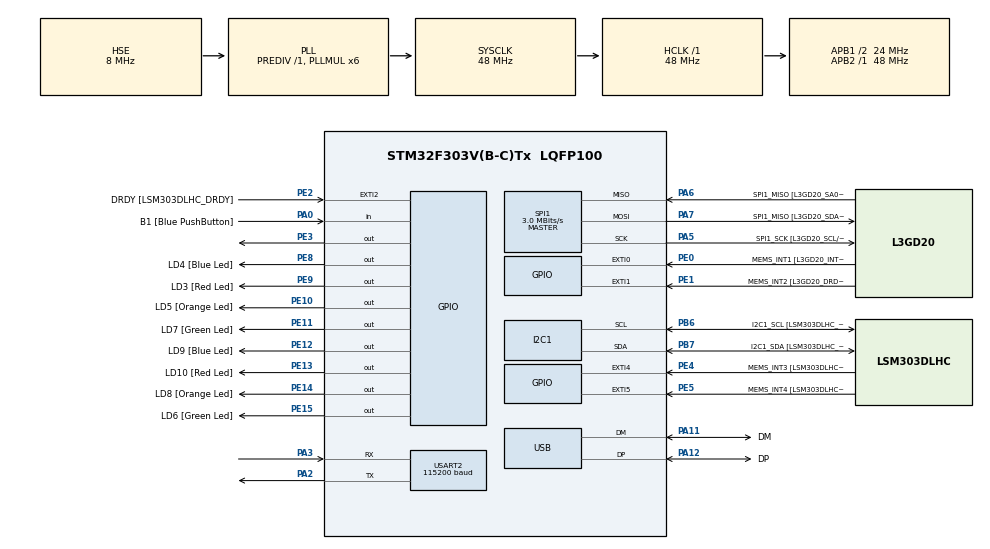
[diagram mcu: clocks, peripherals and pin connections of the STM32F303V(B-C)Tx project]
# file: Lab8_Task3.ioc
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I2C1.Timing=0x00201D2B
I2C1.Timing-I2C=0x2000090E
Mcu.Family=STM32F3
Mcu.Name=STM32F303V(B-C)Tx
Mcu.Package=LQFP100
NVIC.PriorityGroup=NVIC_PRIORITYGROUP_0
NVIC.SPI1_IRQn=true\:0\:0\:false\:false\:true\:true\:true\:true
PA0.GPIO_Label=B1 [Blue PushButton]
PA0.Signal=GPIO_Input
PA11.GPIO_Label=DM
PA11.Mode=Device
PA11.Signal=USB_DM
PA12.GPIO_Label=DP
PA12.Mode=Device
PA12.Signal=USB_DP
PA13.GPIO_Label=SWDIO
PA13.Mode=Serial_Wire
PA13.Signal=SYS_JTMS-SWDIO
PA14.GPIO_Label=SWCLK
PA14.Mode=Serial_Wire
PA14.Signal=SYS_JTCK-SWCLK
PA2.Mode=Asynchronous
PA2.Signal=USART2_TX
PA3.Mode=Asynchronous
PA3.Signal=USART2_RX
PA5.GPIO_Label=SPI1_SCK [L3GD20_SCL/SPC]
PA5.Mode=Full_Duplex_Master
PA5.Signal=SPI1_SCK
PA6.GPIO_Label=SPI1_MISO [L3GD20_SA0/SDO]
PA6.Mode=Full_Duplex_Master
PA6.Signal=SPI1_MISO
PA7.GPIO_Label=SPI1_MISO [L3GD20_SDA/SDI/SDO]
PA7.Mode=Full_Duplex_Master
PA7.Signal=SPI1_MOSI
PB3.GPIO_Label=SWO
PB3.Signal=SYS_JTDO-TRACESWO
PB6.GPIO_Label=I2C1_SCL [LSM303DLHC_SCL]
PB6.GPIO_Pu=GPIO_PULLUP
PB6.Mode=I2C
PB6.Signal=I2C1_SCL
PB7.GPIO_Label=I2C1_SDA [LSM303DLHC_SDA]
PB7.GPIO_Pu=GPIO_PULLUP
PB7.Mode=I2C
PB7.Signal=I2C1_SDA
PC14-OSC32_IN.GPIO_Label=OSC32_IN
PC14-OSC32_IN.Signal=RCC_OSC32_IN
PC15-OSC32_OUT.GPIO_Label=OSC32_OUT
PC15-OSC32_OUT.Signal=RCC_OSC32_OUT
PE0.GPIO_Label=MEMS_INT1 [L3GD20_INT1]
PE0.GPIO_ModeDefaultEXTI=GPIO_MODE_EVT_RISING
PE0.Signal=GPXTI0
PE1.GPIO_Label=MEMS_INT2 [L3GD20_DRDY/INT2]
PE1.GPIO_ModeDefaultEXTI=GPIO_MODE_EVT_RISING
PE1.Signal=GPXTI1
PE10.GPIO_Label=LD5 [Orange Led]
PE10.Signal=GPIO_Output
PE11.GPIO_Label=LD7 [Green Led]
PE11.Signal=GPIO_Output
PE12.GPIO_Label=LD9 [Blue Led]
PE12.Signal=GPIO_Output
PE13.GPIO_Label=LD10 [Red Led]
PE13.Signal=GPIO_Output
PE14.GPIO_Label=LD8 [Orange Led]
PE14.Signal=GPIO_Output
PE15.GPIO_Label=LD6 [Green Led]
PE15.Signal=GPIO_Output
PE2.GPIO_Label=DRDY [LSM303DLHC_DRDY]
PE2.GPIO_ModeDefaultEXTI=GPIO_MODE_EVT_RISING
PE2.Signal=GPXTI2
PE3.Signal=GPIO_Output
PE4.GPIO_Label=MEMS_INT3 [LSM303DLHC_INT1]
PE4.GPIO_ModeDefaultEXTI=GPIO_MODE_EVT_RISING
PE4.Signal=GPXTI4
PE5.GPIO_Label=MEMS_INT4 [LSM303DLHC_INT2]
PE5.GPIO_ModeDefaultEXTI=GPIO_MODE_EVT_RISING
PE5.Signal=GPXTI5
PE8.GPIO_Label=LD4 [Blue Led]
PE8.Signal=GPIO_Output
PE9.GPIO_Label=LD3 [Red Led]
PE9.Signal=GPIO_Output
PF0-OSC_IN.GPIO_Label=OSC_IN
PF0-OSC_IN.Mode=HSE-External-Clock-Source
PF0-OSC_IN.Signal=RCC_OSC_IN
PF1-OSC_OUT.GPIO_Label=OSC_OUT
PF1-OSC_OUT.Signal=RCC_OSC_OUT
ProjectManager.HeapSize=0x200
ProjectManager.StackSize=0x400
ProjectManager.TargetToolchain=CMake
RCC.AHBFreq_Value=48000000
RCC.APB1CLKDivider=RCC_HCLK_DIV2
RCC.APB1Freq_Value=24000000
RCC.APB1TimFreq_Value=48000000
RCC.APB2Freq_Value=48000000
RCC.APB2TimFreq_Value=48000000
RCC.CortexFreq_Value=48000000
RCC.HCLKFreq_Value=48000000
RCC.HSE_VALUE=8000000
RCC.HSI_VALUE=8000000
RCC.LSE_VALUE=32768
RCC.PLLMUL=RCC_PLL_MUL6
RCC.SYSCLKFreq_VALUE=48000000
RCC.SYSCLKSourceVirtual=RCC_SYSCLKSOURCE_PLLCLK
RCC.USBFreq_Value=48000000
SPI1.BaudRatePrescaler=SPI_BAUDRATEPRESCALER_16
SPI1.BaudRatePrescaler-Full_Duplex_Master=SPI_BAUDRATEPRESCALER_2
SPI1.CLKPhase=SPI_PHASE_2EDGE
SPI1.CLKPolarity=SPI_POLARITY_HIGH
SPI1.CalculateBaudRate=3.0 MBits/s
SPI1.CalculateBaudRate-Full_Duplex_Master=24.0 MBits/s
SPI1.DataSize=SPI_DATASIZE_8BIT
SPI1.Direction=SPI_DIRECTION_2LINES
SPI1.Mode=SPI_MODE_MASTER
SPI1.Mode-Full_Duplex_Master=SPI_MODE_MASTER
SPI1.VirtualType=VM_MASTER
USART2.BaudRate=115200
USART2.VirtualMode-Asynchronous=VM_ASYNC
board=STM32F3DISCOVERY

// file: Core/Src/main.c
/* USER CODE BEGIN Header */
/**
  ******************************************************************************
  * @file           : main.c
  * @brief          : Main program body
  ******************************************************************************
  * @attention
  *
  * Copyright (c) 2025 STMicroelectronics.
  * All rights reserved.
  *
  * This software is licensed under terms that can be found in the LICENSE file
  * in the root directory of this software component.
  * If no LICENSE file comes with this software, it is provided AS-IS.
  *
  ******************************************************************************
  */
/* USER CODE END Header */
#include "main.h"
#include <stdio.h>
#include <string.h>
#include <stdarg.h>

I2C_HandleTypeDef hi2c1;

SPI_HandleTypeDef hspi1;

UART_HandleTypeDef huart2;

PCD_HandleTypeDef hpcd_USB_FS;

void SystemClock_Config(void);
static void MX_GPIO_Init(void);
static void MX_I2C1_Init(void);
static void MX_SPI1_Init(void);
static void MX_USART2_UART_Init(void);
static void MX_USB_PCD_Init(void);

#define WHO_AM_I_REG       0x0F
#define CTRL_REG1          0x20
#define OUT_TEMP           0x26
#define OUT_X_L            0x28
#define OUT_X_H            0x29
#define OUT_Y_L            0x2A
#define OUT_Y_H            0x2B
#define OUT_Z_L            0x2C
#define OUT_Z_H            0x2D
#define WHO_AM_I_EXPECTED  0xD3

#define CS_LOW()  HAL_GPIO_WritePin(GPIOE, GPIO_PIN_3, GPIO_PIN_RESET)
#define CS_HIGH() HAL_GPIO_WritePin(GPIOE, GPIO_PIN_3, GPIO_PIN_SET)
/* USER CODE END PV */

/* USER CODE BEGIN 0 */
uint8_t spi_read(uint8_t reg)
{
    uint8_t tx[2];
    uint8_t rx[2];
    tx[0] = reg | 0x80;  // Read command (MSB = 1)

    tx[1] = 0x00;

    CS_LOW();
    HAL_SPI_TransmitReceive(&hspi1, tx, rx, 2, HAL_MAX_DELAY);
    CS_HIGH();

    return rx[1];
}

void spi_write(uint8_t reg, uint8_t value)
{
    uint8_t data[2] = {reg & 0x7F, value};  // Write command (MSB = 0)
    CS_LOW();
    HAL_SPI_Transmit(&hspi1, data, 2, HAL_MAX_DELAY);
    CS_HIGH();
}

void gyro_init(void)
{
    uint8_t whoami = spi_read(WHO_AM_I_REG);
    if (whoami != WHO_AM_I_EXPECTED)
    {
        char msg[50];
        sprintf(msg, "WHO_AM_I error: 0x%02X\r\n", whoami);
        HAL_UART_Transmit(&huart2, (uint8_t*)msg, strlen(msg), HAL_MAX_DELAY);
    }

    spi_write(CTRL_REG1, 0b00001111); // Power on, X/Y/Z enable, ODR=100Hz
}

/* USER CODE END 0 */

void print(const char *fmt, ...)
{
  char buffer[128];
  va_list args;
  va_start(args, fmt);
  vsnprintf(buffer, sizeof(buffer), fmt, args);
  va_end(args);
  HAL_UART_Transmit(&huart2, (uint8_t *)buffer, strlen(buffer), HAL_MAX_DELAY);
}

int main(void)
{

  /* MCU Configuration--------------------------------------------------------*/

  /* Reset of all peripherals, Initializes the Flash interface and the Systick. */
  HAL_Init();

  /* Configure the system clock */
  SystemClock_Config();

  /* Initialize all configured peripherals */
  MX_GPIO_Init();
  MX_I2C1_Init();
  MX_SPI1_Init();
  MX_USART2_UART_Init();
  MX_USB_PCD_Init();

  /* Infinite loop */
  /* USER CODE BEGIN WHILE */
  gyro_init();
  while (1)
  {
    /* USER CODE END WHILE */
    int8_t temp = (int8_t)spi_read(OUT_TEMP);
    int16_t x = (int16_t)(spi_read(OUT_X_H) << 8 | spi_read(OUT_X_L));
    int16_t y = (int16_t)(spi_read(OUT_Y_H) << 8 | spi_read(OUT_Y_L));
    int16_t z = (int16_t)(spi_read(OUT_Z_H) << 8 | spi_read(OUT_Z_L));

  print("%d \t %d \t %d \t %d\r\n", temp, x, y, z);

    HAL_Delay(200);
  }
}

void SystemClock_Config(void)
{
  RCC_OscInitTypeDef RCC_OscInitStruct = {0};
  RCC_ClkInitTypeDef RCC_ClkInitStruct = {0};
  RCC_PeriphCLKInitTypeDef PeriphClkInit = {0};

  /** Initializes the RCC Oscillators according to the specified parameters
  * in the RCC_OscInitTypeDef structure.
  */
  RCC_OscInitStruct.OscillatorType = RCC_OSCILLATORTYPE_HSI|RCC_OSCILLATORTYPE_HSE;
  RCC_OscInitStruct.HSEState = RCC_HSE_BYPASS;
  RCC_OscInitStruct.HSEPredivValue = RCC_HSE_PREDIV_DIV1;
  RCC_OscInitStruct.HSIState = RCC_HSI_ON;
  RCC_OscInitStruct.HSICalibrationValue = RCC_HSICALIBRATION_DEFAULT;
  RCC_OscInitStruct.PLL.PLLState = RCC_PLL_ON;
  RCC_OscInitStruct.PLL.PLLSource = RCC_PLLSOURCE_HSE;
  RCC_OscInitStruct.PLL.PLLMUL = RCC_PLL_MUL6;
  if (HAL_RCC_OscConfig(&RCC_OscInitStruct) != HAL_OK)
  {
    Error_Handler();
  }

  /** Initializes the CPU, AHB and APB buses clocks
  */
  RCC_ClkInitStruct.ClockType = RCC_CLOCKTYPE_HCLK|RCC_CLOCKTYPE_SYSCLK
                              |RCC_CLOCKTYPE_PCLK1|RCC_CLOCKTYPE_PCLK2;
  RCC_ClkInitStruct.SYSCLKSource = RCC_SYSCLKSOURCE_PLLCLK;
  RCC_ClkInitStruct.AHBCLKDivider = RCC_SYSCLK_DIV1;
  RCC_ClkInitStruct.APB1CLKDivider = RCC_HCLK_DIV2;
  RCC_ClkInitStruct.APB2CLKDivider = RCC_HCLK_DIV1;

  if (HAL_RCC_ClockConfig(&RCC_ClkInitStruct, FLASH_LATENCY_1) != HAL_OK)
  {
    Error_Handler();
  }
  PeriphClkInit.PeriphClockSelection = RCC_PERIPHCLK_USB|RCC_PERIPHCLK_USART2
                              |RCC_PERIPHCLK_I2C1;
  PeriphClkInit.Usart2ClockSelection = RCC_USART2CLKSOURCE_PCLK1;
  PeriphClkInit.I2c1ClockSelection = RCC_I2C1CLKSOURCE_HSI;
  PeriphClkInit.USBClockSelection = RCC_USBCLKSOURCE_PLL;
  if (HAL_RCCEx_PeriphCLKConfig(&PeriphClkInit) != HAL_OK)
  {
    Error_Handler();
  }
}

static void MX_I2C1_Init(void)
{

  hi2c1.Instance = I2C1;
  hi2c1.Init.Timing = 0x00201D2B;
  hi2c1.Init.OwnAddress1 = 0;
  hi2c1.Init.AddressingMode = I2C_ADDRESSINGMODE_7BIT;
  hi2c1.Init.DualAddressMode = I2C_DUALADDRESS_DISABLE;
  hi2c1.Init.OwnAddress2 = 0;
  hi2c1.Init.OwnAddress2Masks = I2C_OA2_NOMASK;
  hi2c1.Init.GeneralCallMode = I2C_GENERALCALL_DISABLE;
  hi2c1.Init.NoStretchMode = I2C_NOSTRETCH_DISABLE;
  if (HAL_I2C_Init(&hi2c1) != HAL_OK)
  {
    Error_Handler();
  }

  /** Configure Analogue filter
  */
  if (HAL_I2CEx_ConfigAnalogFilter(&hi2c1, I2C_ANALOGFILTER_ENABLE) != HAL_OK)
  {
    Error_Handler();
  }

  /** Configure Digital filter
  */
  if (HAL_I2CEx_ConfigDigitalFilter(&hi2c1, 0) != HAL_OK)
  {
    Error_Handler();
  }

}

static void MX_SPI1_Init(void)
{

  /* SPI1 parameter configuration*/
  hspi1.Instance = SPI1;
  hspi1.Init.Mode = SPI_MODE_MASTER;
  hspi1.Init.Direction = SPI_DIRECTION_2LINES;
  hspi1.Init.DataSize = SPI_DATASIZE_8BIT;
  hspi1.Init.CLKPolarity = SPI_POLARITY_HIGH;
  hspi1.Init.CLKPhase = SPI_PHASE_2EDGE;
  hspi1.Init.NSS = SPI_NSS_SOFT;
  hspi1.Init.BaudRatePrescaler = SPI_BAUDRATEPRESCALER_16;
  hspi1.Init.FirstBit = SPI_FIRSTBIT_MSB;
  hspi1.Init.TIMode = SPI_TIMODE_DISABLE;
  hspi1.Init.CRCCalculation = SPI_CRCCALCULATION_DISABLE;
  hspi1.Init.CRCPolynomial = 7;
  hspi1.Init.CRCLength = SPI_CRC_LENGTH_DATASIZE;
  hspi1.Init.NSSPMode = SPI_NSS_PULSE_DISABLE;
  if (HAL_SPI_Init(&hspi1) != HAL_OK)
  {
    Error_Handler();
  }

}

static void MX_USART2_UART_Init(void)
{

  huart2.Instance = USART2;
  huart2.Init.BaudRate = 115200;
  huart2.Init.WordLength = UART_WORDLENGTH_8B;
  huart2.Init.StopBits = UART_STOPBITS_1;
  huart2.Init.Parity = UART_PARITY_NONE;
  huart2.Init.Mode = UART_MODE_TX_RX;
  huart2.Init.HwFlowCtl = UART_HWCONTROL_NONE;
  huart2.Init.OverSampling = UART_OVERSAMPLING_16;
  huart2.Init.OneBitSampling = UART_ONE_BIT_SAMPLE_DISABLE;
  huart2.AdvancedInit.AdvFeatureInit = UART_ADVFEATURE_NO_INIT;
  if (HAL_UART_Init(&huart2) != HAL_OK)
  {
    Error_Handler();
  }

}

static void MX_USB_PCD_Init(void)
{

  hpcd_USB_FS.Instance = USB;
  hpcd_USB_FS.Init.dev_endpoints = 8;
  hpcd_USB_FS.Init.speed = PCD_SPEED_FULL;
  hpcd_USB_FS.Init.phy_itface = PCD_PHY_EMBEDDED;
  hpcd_USB_FS.Init.low_power_enable = DISABLE;
  hpcd_USB_FS.Init.battery_charging_enable = DISABLE;
  if (HAL_PCD_Init(&hpcd_USB_FS) != HAL_OK)
  {
    Error_Handler();
  }

}

static void MX_GPIO_Init(void)
{
  GPIO_InitTypeDef GPIO_InitStruct = {0};

  /* GPIO Ports Clock Enable */
  __HAL_RCC_GPIOE_CLK_ENABLE();
  __HAL_RCC_GPIOC_CLK_ENABLE();
  __HAL_RCC_GPIOF_CLK_ENABLE();
  __HAL_RCC_GPIOA_CLK_ENABLE();
  __HAL_RCC_GPIOB_CLK_ENABLE();

  /*Configure GPIO pin Output Level */
  HAL_GPIO_WritePin(GPIOE, GPIO_PIN_3|LD4_Pin|LD3_Pin|LD5_Pin
                          |LD7_Pin|LD9_Pin|LD10_Pin|LD8_Pin
                          |LD6_Pin, GPIO_PIN_RESET);

  /*Configure GPIO pins : DRDY_Pin MEMS_INT3_Pin MEMS_INT4_Pin MEMS_INT1_Pin
                           MEMS_INT2_Pin */
  GPIO_InitStruct.Pin = DRDY_Pin|MEMS_INT3_Pin|MEMS_INT4_Pin|MEMS_INT1_Pin
                          |MEMS_INT2_Pin;
  GPIO_InitStruct.Mode = GPIO_MODE_EVT_RISING;
  GPIO_InitStruct.Pull = GPIO_NOPULL;
  HAL_GPIO_Init(GPIOE, &GPIO_InitStruct);

  /*Configure GPIO pins : PE3 LD4_Pin LD3_Pin LD5_Pin
                           LD7_Pin LD9_Pin LD10_Pin LD8_Pin
                           LD6_Pin */
  GPIO_InitStruct.Pin = GPIO_PIN_3|LD4_Pin|LD3_Pin|LD5_Pin
                          |LD7_Pin|LD9_Pin|LD10_Pin|LD8_Pin
                          |LD6_Pin;
  GPIO_InitStruct.Mode = GPIO_MODE_OUTPUT_PP;
  GPIO_InitStruct.Pull = GPIO_NOPULL;
  GPIO_InitStruct.Speed = GPIO_SPEED_FREQ_LOW;
  HAL_GPIO_Init(GPIOE, &GPIO_InitStruct);

  /*Configure GPIO pin : B1_Pin */
  GPIO_InitStruct.Pin = B1_Pin;
  GPIO_InitStruct.Mode = GPIO_MODE_INPUT;
  GPIO_InitStruct.Pull = GPIO_NOPULL;
  HAL_GPIO_Init(B1_GPIO_Port, &GPIO_InitStruct);

}

void Error_Handler(void)
{
  __disable_irq();
  while (1)
  {
  }
}
